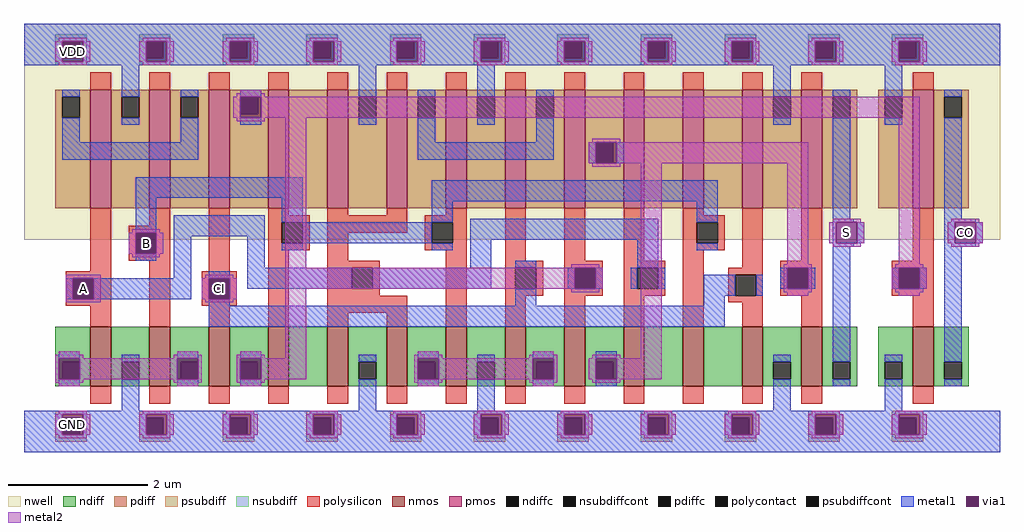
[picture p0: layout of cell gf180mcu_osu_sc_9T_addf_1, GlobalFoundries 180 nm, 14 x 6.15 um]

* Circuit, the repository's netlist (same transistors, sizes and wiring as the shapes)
* NGSPICE file created from gf180mcu_osu_sc_9T_addf_1.ext - technology: gf180mcuC

.inc "/import/yukari1/lrburle/globalfoundries-pdk-libs-gf180mcu_osu_sc/char/techfiles/design.hspice"
.lib "/import/yukari1/lrburle/globalfoundries-pdk-libs-gf180mcu_osu_sc/char/techfiles/sm141064.hspice" typical

X0 a_9_70# B VDD VDD pmos_3p3 w=1.7u l=0.3u
X1 a_110_70# A VDD VDD pmos_3p3 w=1.7u l=0.3u
X2 S a_161_19# GND GND nmos_3p3 w=0.85u l=0.3u
X3 S a_161_19# VDD VDD pmos_3p3 w=1.7u l=0.3u
X4 a_195_19# B a_178_19# GND nmos_3p3 w=0.85u l=0.3u
X5 a_178_19# A a_161_19# GND nmos_3p3 w=0.85u l=0.3u
X6 a_195_70# B a_178_70# VDD pmos_3p3 w=1.7u l=0.3u
X7 a_110_19# CI GND GND nmos_3p3 w=0.85u l=0.3u
X8 a_178_70# A a_161_19# VDD pmos_3p3 w=1.7u l=0.3u
X9 a_59_19# CI a_9_19# GND nmos_3p3 w=0.85u l=0.3u
X10 GND B a_110_19# GND nmos_3p3 w=0.85u l=0.3u
X11 a_110_70# CI VDD VDD pmos_3p3 w=1.7u l=0.3u
X12 GND A a_9_19# GND nmos_3p3 w=0.85u l=0.3u
X13 a_59_19# CI a_9_70# VDD pmos_3p3 w=1.7u l=0.3u
X14 VDD B a_110_70# VDD pmos_3p3 w=1.7u l=0.3u
X15 CO a_59_19# GND GND nmos_3p3 w=0.85u l=0.3u
X16 VDD A a_9_70# VDD pmos_3p3 w=1.7u l=0.3u
X17 GND CI a_195_19# GND nmos_3p3 w=0.85u l=0.3u
X18 CO a_59_19# VDD VDD pmos_3p3 w=1.7u l=0.3u
X19 VDD CI a_195_70# VDD pmos_3p3 w=1.7u l=0.3u
X20 GND A a_76_19# GND nmos_3p3 w=0.85u l=0.3u
X21 a_161_19# a_59_19# a_110_19# GND nmos_3p3 w=0.85u l=0.3u
X22 a_76_19# B a_59_19# GND nmos_3p3 w=0.85u l=0.3u
X23 VDD A a_76_70# VDD pmos_3p3 w=1.7u l=0.3u
X24 a_161_19# a_59_19# a_110_70# VDD pmos_3p3 w=1.7u l=0.3u
X25 a_9_19# B GND GND nmos_3p3 w=0.85u l=0.3u
X26 a_110_19# A GND GND nmos_3p3 w=0.85u l=0.3u
X27 a_76_70# B a_59_19# VDD pmos_3p3 w=1.7u l=0.3u

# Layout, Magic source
magic
tech gf180mcuC
<< nwell >>
rect 0 61 280 123
<< nmos >>
rect 19 19 25 36
rect 36 19 42 36
rect 53 19 59 36
rect 70 19 76 36
rect 87 19 93 36
rect 104 19 110 36
rect 121 19 127 36
rect 138 19 144 36
rect 155 19 161 36
rect 172 19 178 36
rect 189 19 195 36
rect 206 19 212 36
rect 223 19 229 36
rect 255 19 261 36
<< pmos >>
rect 19 70 25 104
rect 36 70 42 104
rect 53 70 59 104
rect 70 70 76 104
rect 87 70 93 104
rect 104 70 110 104
rect 121 70 127 104
rect 138 70 144 104
rect 155 70 161 104
rect 172 70 178 104
rect 189 70 195 104
rect 206 70 212 104
rect 223 70 229 104
rect 255 70 261 104
<< ndiff >>
rect 9 26 19 36
rect 9 21 11 26
rect 16 21 19 26
rect 9 19 19 21
rect 25 26 36 36
rect 25 21 28 26
rect 33 21 36 26
rect 25 19 36 21
rect 42 26 53 36
rect 42 21 45 26
rect 50 21 53 26
rect 42 19 53 21
rect 59 26 70 36
rect 59 21 62 26
rect 67 21 70 26
rect 59 19 70 21
rect 76 19 87 36
rect 93 26 104 36
rect 93 21 96 26
rect 101 21 104 26
rect 93 19 104 21
rect 110 26 121 36
rect 110 21 113 26
rect 118 21 121 26
rect 110 19 121 21
rect 127 26 138 36
rect 127 21 130 26
rect 135 21 138 26
rect 127 19 138 21
rect 144 26 155 36
rect 144 21 147 26
rect 152 21 155 26
rect 144 19 155 21
rect 161 26 172 36
rect 161 21 164 26
rect 169 21 172 26
rect 161 19 172 21
rect 178 19 189 36
rect 195 19 206 36
rect 212 26 223 36
rect 212 21 215 26
rect 220 21 223 26
rect 212 19 223 21
rect 229 26 239 36
rect 229 21 232 26
rect 237 21 239 26
rect 229 19 239 21
rect 245 26 255 36
rect 245 21 247 26
rect 252 21 255 26
rect 245 19 255 21
rect 261 26 271 36
rect 261 21 264 26
rect 269 21 271 26
rect 261 19 271 21
<< pdiff >>
rect 9 102 19 104
rect 9 96 11 102
rect 16 96 19 102
rect 9 70 19 96
rect 25 102 36 104
rect 25 96 28 102
rect 33 96 36 102
rect 25 70 36 96
rect 42 102 53 104
rect 42 96 45 102
rect 50 96 53 102
rect 42 70 53 96
rect 59 102 70 104
rect 59 97 62 102
rect 67 97 70 102
rect 59 70 70 97
rect 76 70 87 104
rect 93 102 104 104
rect 93 96 96 102
rect 101 96 104 102
rect 93 70 104 96
rect 110 102 121 104
rect 110 96 113 102
rect 118 96 121 102
rect 110 70 121 96
rect 127 102 138 104
rect 127 96 130 102
rect 135 96 138 102
rect 127 70 138 96
rect 144 102 155 104
rect 144 96 147 102
rect 152 96 155 102
rect 144 70 155 96
rect 161 89 172 104
rect 161 83 164 89
rect 169 83 172 89
rect 161 70 172 83
rect 178 70 189 104
rect 195 70 206 104
rect 212 102 223 104
rect 212 96 215 102
rect 220 96 223 102
rect 212 70 223 96
rect 229 102 239 104
rect 229 96 232 102
rect 237 96 239 102
rect 229 70 239 96
rect 245 102 255 104
rect 245 96 247 102
rect 252 96 255 102
rect 245 70 255 96
rect 261 102 271 104
rect 261 96 264 102
rect 269 96 271 102
rect 261 70 271 96
<< ndiffc >>
rect 11 21 16 26
rect 28 21 33 26
rect 45 21 50 26
rect 62 21 67 26
rect 96 21 101 26
rect 113 21 118 26
rect 130 21 135 26
rect 147 21 152 26
rect 164 21 169 26
rect 215 21 220 26
rect 232 21 237 26
rect 247 21 252 26
rect 264 21 269 26
<< pdiffc >>
rect 11 96 16 102
rect 28 96 33 102
rect 45 96 50 102
rect 62 97 67 102
rect 96 96 101 102
rect 113 96 118 102
rect 130 96 135 102
rect 147 96 152 102
rect 164 83 169 89
rect 215 96 220 102
rect 232 96 237 102
rect 247 96 252 102
rect 264 96 269 102
<< psubdiff >>
rect 9 10 18 12
rect 9 5 11 10
rect 16 5 18 10
rect 9 3 18 5
rect 33 10 42 12
rect 33 5 35 10
rect 40 5 42 10
rect 33 3 42 5
rect 57 10 66 12
rect 57 5 59 10
rect 64 5 66 10
rect 57 3 66 5
rect 81 10 90 12
rect 81 5 83 10
rect 88 5 90 10
rect 81 3 90 5
rect 105 10 114 12
rect 105 5 107 10
rect 112 5 114 10
rect 105 3 114 5
rect 129 10 138 12
rect 129 5 131 10
rect 136 5 138 10
rect 129 3 138 5
rect 153 10 162 12
rect 153 5 155 10
rect 160 5 162 10
rect 153 3 162 5
rect 177 10 186 12
rect 177 5 179 10
rect 184 5 186 10
rect 177 3 186 5
rect 201 10 210 12
rect 201 5 203 10
rect 208 5 210 10
rect 201 3 210 5
rect 225 10 234 12
rect 225 5 227 10
rect 232 5 234 10
rect 225 3 234 5
rect 249 10 258 12
rect 249 5 251 10
rect 256 5 258 10
rect 249 3 258 5
<< nsubdiff >>
rect 9 118 18 120
rect 9 113 11 118
rect 16 113 18 118
rect 9 111 18 113
rect 33 118 42 120
rect 33 113 35 118
rect 40 113 42 118
rect 33 111 42 113
rect 57 118 66 120
rect 57 113 59 118
rect 64 113 66 118
rect 57 111 66 113
rect 81 118 90 120
rect 81 113 83 118
rect 88 113 90 118
rect 81 111 90 113
rect 105 118 114 120
rect 105 113 107 118
rect 112 113 114 118
rect 105 111 114 113
rect 129 118 138 120
rect 129 113 131 118
rect 136 113 138 118
rect 129 111 138 113
rect 153 118 162 120
rect 153 113 155 118
rect 160 113 162 118
rect 153 111 162 113
rect 177 118 186 120
rect 177 113 179 118
rect 184 113 186 118
rect 177 111 186 113
rect 201 118 210 120
rect 201 113 203 118
rect 208 113 210 118
rect 201 111 210 113
rect 225 118 234 120
rect 225 113 227 118
rect 232 113 234 118
rect 225 111 234 113
rect 249 118 258 120
rect 249 113 251 118
rect 256 113 258 118
rect 249 111 258 113
<< psubdiffcont >>
rect 11 5 16 10
rect 35 5 40 10
rect 59 5 64 10
rect 83 5 88 10
rect 107 5 112 10
rect 131 5 136 10
rect 155 5 160 10
rect 179 5 184 10
rect 203 5 208 10
rect 227 5 232 10
rect 251 5 256 10
<< nsubdiffcont >>
rect 11 113 16 118
rect 35 113 40 118
rect 59 113 64 118
rect 83 113 88 118
rect 107 113 112 118
rect 131 113 136 118
rect 155 113 160 118
rect 179 113 184 118
rect 203 113 208 118
rect 227 113 232 118
rect 251 113 256 118
<< polysilicon >>
rect 19 104 25 109
rect 36 104 42 109
rect 53 104 59 109
rect 70 104 76 109
rect 87 104 93 109
rect 104 104 110 109
rect 121 104 127 109
rect 138 104 144 109
rect 155 104 161 109
rect 172 104 178 109
rect 189 104 195 109
rect 206 104 212 109
rect 223 104 229 109
rect 255 104 261 109
rect 19 52 25 70
rect 36 65 42 70
rect 30 63 42 65
rect 30 57 32 63
rect 38 57 42 63
rect 30 55 42 57
rect 12 50 25 52
rect 12 44 14 50
rect 20 44 25 50
rect 12 42 25 44
rect 19 36 25 42
rect 36 36 42 55
rect 53 52 59 70
rect 70 68 76 70
rect 87 68 93 70
rect 104 68 110 70
rect 121 68 127 70
rect 70 66 82 68
rect 70 60 74 66
rect 80 60 82 66
rect 70 58 82 60
rect 87 63 110 68
rect 115 66 127 68
rect 51 50 61 52
rect 51 44 53 50
rect 59 44 61 50
rect 51 42 61 44
rect 53 36 59 42
rect 70 36 76 58
rect 87 55 93 63
rect 115 60 117 66
rect 123 60 127 66
rect 115 58 127 60
rect 87 53 102 55
rect 87 47 94 53
rect 100 47 102 53
rect 87 45 102 47
rect 87 40 110 45
rect 87 36 93 40
rect 104 36 110 40
rect 121 36 127 58
rect 138 55 144 70
rect 155 55 161 70
rect 172 55 178 70
rect 189 68 195 70
rect 189 66 201 68
rect 189 60 193 66
rect 199 60 201 66
rect 189 58 201 60
rect 138 53 149 55
rect 138 47 141 53
rect 147 47 149 53
rect 138 45 149 47
rect 155 53 166 55
rect 155 47 158 53
rect 164 47 166 53
rect 155 45 166 47
rect 172 53 184 55
rect 172 47 176 53
rect 182 47 184 53
rect 172 45 184 47
rect 138 36 144 45
rect 155 36 161 45
rect 172 36 178 45
rect 189 36 195 58
rect 206 53 212 70
rect 223 55 229 70
rect 255 55 261 70
rect 202 51 212 53
rect 202 45 204 51
rect 210 45 212 51
rect 217 53 229 55
rect 217 47 219 53
rect 225 47 229 53
rect 217 45 229 47
rect 249 53 261 55
rect 249 47 251 53
rect 257 47 261 53
rect 249 45 261 47
rect 202 43 212 45
rect 206 36 212 43
rect 223 36 229 45
rect 255 36 261 45
rect 19 14 25 19
rect 36 14 42 19
rect 53 14 59 19
rect 70 14 76 19
rect 87 14 93 19
rect 104 14 110 19
rect 121 14 127 19
rect 138 14 144 19
rect 155 14 161 19
rect 172 14 178 19
rect 189 14 195 19
rect 206 14 212 19
rect 223 14 229 19
rect 255 14 261 19
<< polycontact >>
rect 32 57 38 63
rect 14 44 20 50
rect 74 60 80 66
rect 53 44 59 50
rect 117 60 123 66
rect 94 47 100 53
rect 193 60 199 66
rect 141 47 147 53
rect 158 47 164 53
rect 176 47 182 53
rect 204 45 210 51
rect 219 47 225 53
rect 251 47 257 53
<< metal1 >>
rect 0 118 280 123
rect 0 112 11 118
rect 17 112 35 118
rect 41 112 59 118
rect 65 112 83 118
rect 89 112 107 118
rect 113 112 131 118
rect 137 112 155 118
rect 161 112 179 118
rect 185 112 203 118
rect 209 112 227 118
rect 233 112 251 118
rect 257 112 280 118
rect 0 111 280 112
rect 11 102 16 104
rect 11 89 16 96
rect 28 102 33 111
rect 28 94 33 96
rect 45 102 50 104
rect 45 89 50 96
rect 62 102 68 104
rect 62 94 68 96
rect 96 102 101 111
rect 96 94 101 96
rect 113 102 118 104
rect 11 84 50 89
rect 113 89 118 96
rect 130 102 135 111
rect 130 94 135 96
rect 147 102 152 104
rect 147 89 152 96
rect 215 102 220 111
rect 215 94 220 96
rect 232 102 237 104
rect 113 84 152 89
rect 162 83 164 89
rect 170 83 172 89
rect 32 73 80 79
rect 32 63 38 73
rect 32 55 38 57
rect 43 62 69 68
rect 43 50 48 62
rect 64 53 69 62
rect 74 66 80 73
rect 117 72 199 78
rect 117 66 123 72
rect 80 60 117 66
rect 74 58 80 60
rect 117 58 123 60
rect 128 61 182 67
rect 128 53 134 61
rect 12 44 14 50
rect 20 44 48 50
rect 53 50 59 52
rect 64 47 94 53
rect 100 47 134 53
rect 141 53 147 55
rect 176 53 182 61
rect 193 66 199 72
rect 193 58 199 60
rect 232 67 237 96
rect 247 102 252 111
rect 247 94 252 96
rect 264 102 269 104
rect 264 67 269 96
rect 232 66 238 67
rect 264 66 273 67
rect 232 60 233 66
rect 239 60 241 66
rect 264 60 267 66
rect 273 60 275 66
rect 232 59 238 60
rect 264 59 273 60
rect 156 47 158 53
rect 164 47 166 53
rect 174 47 176 53
rect 182 47 184 53
rect 53 42 59 44
rect 141 42 147 47
rect 195 45 204 51
rect 210 45 212 51
rect 217 47 219 53
rect 225 47 227 53
rect 195 42 201 45
rect 53 36 201 42
rect 10 27 16 29
rect 10 19 16 21
rect 28 26 33 28
rect 28 12 33 21
rect 44 27 50 29
rect 44 19 50 21
rect 62 27 68 29
rect 62 19 68 21
rect 96 26 101 28
rect 96 12 101 21
rect 113 27 119 29
rect 113 19 119 21
rect 130 26 135 28
rect 130 12 135 21
rect 146 27 152 29
rect 146 19 152 21
rect 164 27 170 29
rect 164 19 170 21
rect 215 26 220 28
rect 215 12 220 21
rect 232 26 237 59
rect 249 47 251 53
rect 257 47 259 53
rect 232 19 237 21
rect 247 26 252 28
rect 247 12 252 21
rect 264 26 269 59
rect 264 19 269 21
rect 0 11 280 12
rect 0 5 11 11
rect 17 5 35 11
rect 41 5 59 11
rect 65 5 83 11
rect 89 5 107 11
rect 113 5 131 11
rect 137 5 155 11
rect 161 5 179 11
rect 185 5 203 11
rect 209 5 227 11
rect 233 5 251 11
rect 257 5 280 11
rect 0 0 280 5
<< via1 >>
rect 11 113 16 118
rect 16 113 17 118
rect 11 112 17 113
rect 35 113 40 118
rect 40 113 41 118
rect 35 112 41 113
rect 59 113 64 118
rect 64 113 65 118
rect 59 112 65 113
rect 83 113 88 118
rect 88 113 89 118
rect 83 112 89 113
rect 107 113 112 118
rect 112 113 113 118
rect 107 112 113 113
rect 131 113 136 118
rect 136 113 137 118
rect 131 112 137 113
rect 155 113 160 118
rect 160 113 161 118
rect 155 112 161 113
rect 179 113 184 118
rect 184 113 185 118
rect 179 112 185 113
rect 203 113 208 118
rect 208 113 209 118
rect 203 112 209 113
rect 227 113 232 118
rect 232 113 233 118
rect 227 112 233 113
rect 251 113 256 118
rect 256 113 257 118
rect 251 112 257 113
rect 62 97 67 102
rect 67 97 68 102
rect 62 96 68 97
rect 164 83 169 89
rect 169 83 170 89
rect 32 57 38 63
rect 14 44 20 50
rect 53 44 59 50
rect 233 60 239 66
rect 267 60 273 66
rect 158 47 164 53
rect 219 47 225 53
rect 10 26 16 27
rect 10 21 11 26
rect 11 21 16 26
rect 44 26 50 27
rect 44 21 45 26
rect 45 21 50 26
rect 62 26 68 27
rect 62 21 67 26
rect 67 21 68 26
rect 113 26 119 27
rect 113 21 118 26
rect 118 21 119 26
rect 146 26 152 27
rect 146 21 147 26
rect 147 21 152 26
rect 164 26 170 27
rect 164 21 169 26
rect 169 21 170 26
rect 251 47 257 53
rect 11 10 17 11
rect 11 5 16 10
rect 16 5 17 10
rect 35 10 41 11
rect 35 5 40 10
rect 40 5 41 10
rect 59 10 65 11
rect 59 5 64 10
rect 64 5 65 10
rect 83 10 89 11
rect 83 5 88 10
rect 88 5 89 10
rect 107 10 113 11
rect 107 5 112 10
rect 112 5 113 10
rect 131 10 137 11
rect 131 5 136 10
rect 136 5 137 10
rect 155 10 161 11
rect 155 5 160 10
rect 160 5 161 10
rect 179 10 185 11
rect 179 5 184 10
rect 184 5 185 10
rect 203 10 209 11
rect 203 5 208 10
rect 208 5 209 10
rect 227 10 233 11
rect 227 5 232 10
rect 232 5 233 10
rect 251 10 257 11
rect 251 5 256 10
rect 256 5 257 10
<< metal2 >>
rect 10 118 18 119
rect 34 118 42 119
rect 58 118 66 119
rect 82 118 90 119
rect 106 118 114 119
rect 130 118 138 119
rect 154 118 162 119
rect 178 118 186 119
rect 202 118 210 119
rect 226 118 234 119
rect 250 118 258 119
rect 9 112 11 118
rect 17 112 19 118
rect 33 112 35 118
rect 41 112 43 118
rect 57 112 59 118
rect 65 112 67 118
rect 81 112 83 118
rect 89 112 91 118
rect 105 112 107 118
rect 113 112 115 118
rect 129 112 131 118
rect 137 112 139 118
rect 153 112 155 118
rect 161 112 163 118
rect 177 112 179 118
rect 185 112 187 118
rect 201 112 203 118
rect 209 112 211 118
rect 225 112 227 118
rect 233 112 235 118
rect 249 112 251 118
rect 257 112 259 118
rect 10 111 18 112
rect 34 111 42 112
rect 58 111 66 112
rect 82 111 90 112
rect 106 111 114 112
rect 130 111 138 112
rect 154 111 162 112
rect 178 111 186 112
rect 202 111 210 112
rect 226 111 234 112
rect 250 111 258 112
rect 62 103 68 104
rect 61 102 69 103
rect 60 96 62 102
rect 68 96 257 102
rect 61 95 69 96
rect 31 63 39 64
rect 30 57 32 63
rect 38 57 40 63
rect 31 56 39 57
rect 75 53 81 96
rect 163 89 171 90
rect 162 83 164 89
rect 170 83 225 89
rect 163 82 171 83
rect 157 53 165 54
rect 12 50 22 51
rect 52 50 60 51
rect 12 44 14 50
rect 20 44 22 50
rect 51 44 53 50
rect 59 44 61 50
rect 75 47 158 53
rect 164 47 166 53
rect 12 43 22 44
rect 52 43 60 44
rect 10 28 16 29
rect 44 28 50 29
rect 62 28 68 29
rect 9 27 17 28
rect 43 27 51 28
rect 9 21 10 27
rect 16 21 44 27
rect 50 21 51 27
rect 9 20 17 21
rect 43 20 51 21
rect 61 27 69 28
rect 75 27 81 47
rect 157 46 165 47
rect 113 28 119 29
rect 146 28 152 29
rect 61 21 62 27
rect 68 21 81 27
rect 112 27 120 28
rect 145 27 153 28
rect 163 27 171 28
rect 177 27 183 83
rect 219 54 225 83
rect 232 66 240 67
rect 231 60 233 66
rect 239 60 241 66
rect 232 59 240 60
rect 251 54 257 96
rect 266 66 274 67
rect 265 60 267 66
rect 273 60 275 66
rect 266 59 274 60
rect 218 53 226 54
rect 250 53 258 54
rect 218 47 219 53
rect 225 47 226 53
rect 249 47 251 53
rect 257 47 259 53
rect 218 46 226 47
rect 250 46 258 47
rect 219 45 225 46
rect 251 45 257 46
rect 112 21 113 27
rect 119 21 146 27
rect 152 21 153 27
rect 162 21 164 27
rect 170 21 183 27
rect 61 20 69 21
rect 112 20 120 21
rect 145 20 153 21
rect 163 20 171 21
rect 10 19 16 20
rect 44 19 50 20
rect 62 19 68 20
rect 113 19 119 20
rect 146 19 152 20
rect 10 11 18 12
rect 34 11 42 12
rect 58 11 66 12
rect 82 11 90 12
rect 106 11 114 12
rect 130 11 138 12
rect 154 11 162 12
rect 178 11 186 12
rect 202 11 210 12
rect 226 11 234 12
rect 250 11 258 12
rect 9 5 11 11
rect 17 5 19 11
rect 33 5 35 11
rect 41 5 43 11
rect 57 5 59 11
rect 65 5 67 11
rect 81 5 83 11
rect 89 5 91 11
rect 105 5 107 11
rect 113 5 115 11
rect 129 5 131 11
rect 137 5 139 11
rect 153 5 155 11
rect 161 5 163 11
rect 177 5 179 11
rect 185 5 187 11
rect 201 5 203 11
rect 209 5 211 11
rect 225 5 227 11
rect 233 5 235 11
rect 249 5 251 11
rect 257 5 259 11
rect 10 4 18 5
rect 34 4 42 5
rect 58 4 66 5
rect 82 4 90 5
rect 106 4 114 5
rect 130 4 138 5
rect 154 4 162 5
rect 178 4 186 5
rect 202 4 210 5
rect 226 4 234 5
rect 250 4 258 5
<< labels >>
rlabel metal2 14 115 14 115 1 VDD
rlabel metal2 14 8 14 8 1 GND
rlabel metal2 17 47 17 47 1 A
port 7 n
rlabel metal2 35 60 35 60 1 B
port 8 n
rlabel metal2 56 47 56 47 1 CI
port 9 n
rlabel metal2 236 63 236 63 1 S
port 10 n
rlabel metal2 270 63 270 63 1 CO
port 11 n
<< end >>
